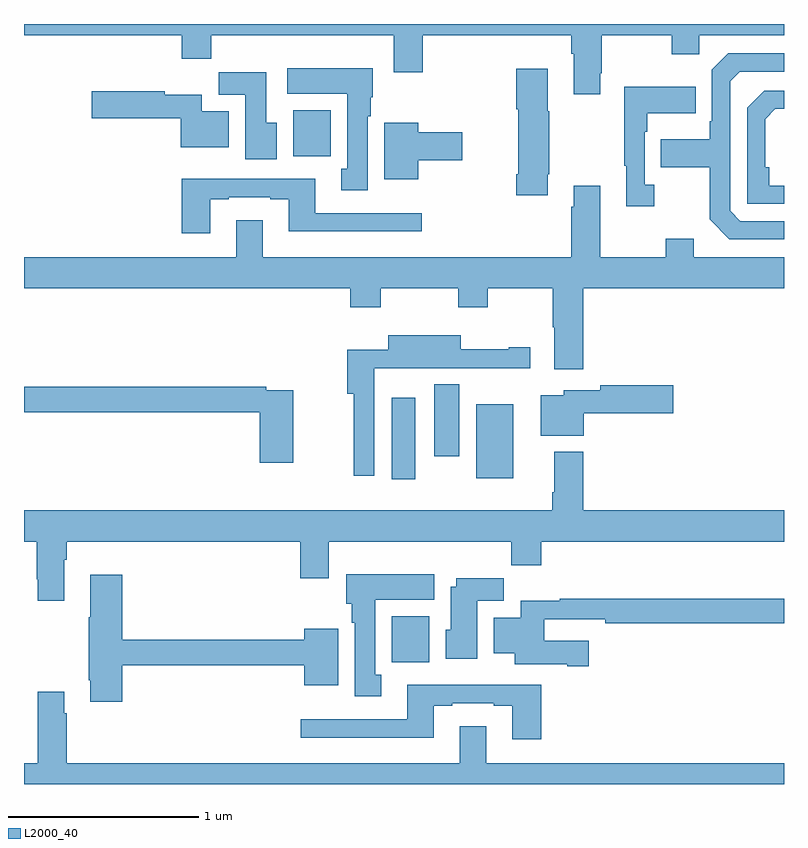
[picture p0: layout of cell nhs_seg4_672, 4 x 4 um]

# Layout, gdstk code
import gdstk
lib = gdstk.Library(unit=1e-6, precision=1e-09)
def R(c, l, rs):  # rectangles x0, y0, x1, y1
    for r in rs: c.add(gdstk.rectangle(r[:2], r[2:], *l))
def P(c, l, *ps):  # polygons
    for p in ps: c.add(gdstk.Polygon(p, *l))
L2000_40 = (2000, 40)

nhs_seg4_672 = lib.new_cell('nhs_seg4_672')
R(nhs_seg4_672, L2000_40, [(146.936,773.54,147.133,773.782), (146.936,774.504,147.058,774.934), (147.38,774.509,147.574,774.898), (147.158,774.624,147.292,775.003), (146.417,776.204,146.614,776.446)])
P(nhs_seg4_672, L2000_40, [(148.033,776.641),(148.041,776.641),(148.041,776.84),(148.408,776.84),(148.408,776.741),(148.554,776.741),(148.554,776.84),(149,776.84),(149,776.9),(145,776.9),(145,776.84),(145.829,776.84),(145.829,776.716),(145.985,776.716),(145.985,776.84),(146.945,776.84),(146.945,776.646),(147.098,776.646),(147.098,776.84),(147.881,776.84),(147.881,776.744),(147.893,776.744),(147.893,776.529),(148.033,776.529)],
  [(149,775.863),(148.77,775.863),(148.716,775.917),(148.716,776.598),(148.767,776.649),(149,776.649),(149,776.745),(148.707,776.745),(148.62,776.658),(148.62,776.389),(148.608,776.389),(148.608,776.293),(148.351,776.293),(148.351,776.146),(148.608,776.146),(148.608,775.873),(148.713,775.767),(149,775.767)],
  [(146.809,776.414),(146.824,776.414),(146.824,776.514),(146.836,776.514),(146.836,776.668),(146.385,776.668),(146.385,776.534),(146.702,776.534),(146.702,776.138),(146.669,776.138),(146.669,776.025),(146.809,776.025)],
  [(147.757,776.11),(147.765,776.11),(147.765,776.441),(147.757,776.441),(147.757,776.665),(147.59,776.665),(147.59,776.452),(147.602,776.452),(147.602,776.11),(147.59,776.11),(147.59,775.998),(147.757,775.998)],
  [(146.329,776.38),(146.275,776.38),(146.275,776.647),(146.026,776.647),(146.026,776.528),(146.165,776.528),(146.165,776.187),(146.329,776.187)],
  [(148.318,776.054),(148.266,776.054),(148.266,776.333),(148.279,776.333),(148.279,776.429),(148.535,776.429),(148.535,776.569),(148.158,776.569),(148.158,776.153),(148.169,776.153),(148.169,775.941),(148.318,775.941)],
  [(149,776.049),(148.922,776.049),(148.922,776.146),(148.902,776.146),(148.902,776.4),(148.955,776.453),(149,776.453),(149,776.55),(148.896,776.55),(148.806,776.46),(148.806,775.953),(149,775.953)],
  [(146.077,776.44),(145.936,776.44),(145.936,776.527),(145.74,776.527),(145.74,776.547),(145.356,776.547),(145.356,776.405),(145.826,776.405),(145.826,776.252),(146.077,776.252)],
  [(147.076,776.183),(147.307,776.183),(147.307,776.33),(147.076,776.33),(147.076,776.38),(146.897,776.38),(146.897,776.084),(147.076,776.084)],
  [(145.981,775.977),(146.077,775.977),(146.077,775.989),(146.297,775.989),(146.297,775.977),(146.393,775.977),(146.393,775.808),(147.094,775.808),(147.094,775.905),(146.533,775.905),(146.533,776.085),(146.069,776.085),(146.069,776.086),(145.829,776.086),(145.829,775.8),(145.981,775.8)],
  [(146.117,775.867),(146.117,775.672),(145,775.672),(145,775.508),(146.717,775.508),(146.717,775.409),(146.877,775.409),(146.877,775.508),(147.286,775.508),(147.286,775.409),(147.441,775.409),(147.441,775.508),(147.784,775.508),(147.784,775.304),(147.791,775.304),(147.791,775.083),(147.944,775.083),(147.944,775.508),(149,775.508),(149,775.672),(148.525,775.672),(148.525,775.771),(148.378,775.771),(148.378,775.672),(148.033,775.672),(148.033,776.05),(147.893,776.05),(147.893,775.937),(147.881,775.937),(147.881,775.672),(146.257,775.672),(146.257,775.867)],
  [(146.844,775.088),(147.162,775.088),(147.162,775.089),(147.394,775.089),(147.394,775.088),(147.664,775.088),(147.664,775.198),(147.551,775.198),(147.551,775.188),(147.298,775.188),(147.298,775.261),(146.918,775.261),(146.918,775.185),(146.702,775.185),(146.702,774.953),(146.736,774.953),(146.736,774.522),(146.844,774.522)],
  [(147.946,774.851),(148.417,774.851),(148.417,774.998),(148.032,774.998),(148.032,774.973),(147.84,774.973),(147.84,774.946),(147.719,774.946),(147.719,774.734),(147.946,774.734)],
  [(146.418,774.972),(146.276,774.972),(146.276,774.992),(145,774.992),(145,774.856),(146.24,774.856),(146.24,774.591),(146.418,774.591)],
  [(145,774.176),(145.066,774.176),(145.066,773.977),(145.073,773.977),(145.073,773.865),(145.213,773.865),(145.213,774.08),(145.226,774.08),(145.226,774.176),(146.453,774.176),(146.453,773.982),(146.605,773.982),(146.605,774.176),(147.565,774.176),(147.565,774.052),(147.722,774.052),(147.722,774.176),(149,774.176),(149,774.34),(147.944,774.34),(147.944,774.649),(147.791,774.649),(147.791,774.436),(147.779,774.436),(147.779,774.34),(145,774.34)],
  [(146.881,773.474),(146.848,773.474),(146.848,773.87),(147.16,773.87),(147.16,774.004),(146.696,774.004),(146.696,773.85),(146.726,773.85),(146.726,773.75),(146.741,773.75),(146.741,773.361),(146.881,773.361)],
  [(145.517,773.524),(146.474,773.524),(146.474,773.42),(146.653,773.42),(146.653,773.716),(146.474,773.716),(146.474,773.66),(145.517,773.66),(145.517,774.001),(145.349,774.001),(145.349,773.777),(145.342,773.777),(145.342,773.446),(145.349,773.446),(145.349,773.334),(145.517,773.334)],
  [(147.385,773.864),(147.524,773.864),(147.524,773.983),(147.275,773.983),(147.275,773.938),(147.245,773.938),(147.245,773.712),(147.221,773.712),(147.221,773.558),(147.385,773.558)],
  [(147.973,773.653),(147.737,773.653),(147.737,773.766),(148.06,773.766),(148.06,773.746),(149,773.746),(149,773.875),(147.82,773.875),(147.82,773.864),(147.614,773.864),(147.614,773.776),(147.473,773.776),(147.473,773.588),(147.584,773.588),(147.584,773.531),(147.86,773.531),(147.86,773.519),(147.973,773.519)],
  [(147.722,773.422),(147.017,773.422),(147.017,773.241),(146.457,773.241),(146.457,773.144),(147.157,773.144),(147.157,773.313),(147.253,773.313),(147.253,773.325),(147.473,773.325),(147.473,773.313),(147.569,773.313),(147.569,773.136),(147.722,773.136)],
  [(149,773.008),(147.433,773.008),(147.433,773.203),(147.293,773.203),(147.293,773.008),(145.226,773.008),(145.226,773.273),(145.213,773.273),(145.213,773.386),(145.073,773.386),(145.073,773.008),(145,773.008),(145,772.9),(149,772.9)])

lib.write_gds('nhs_seg4_672.gds')
